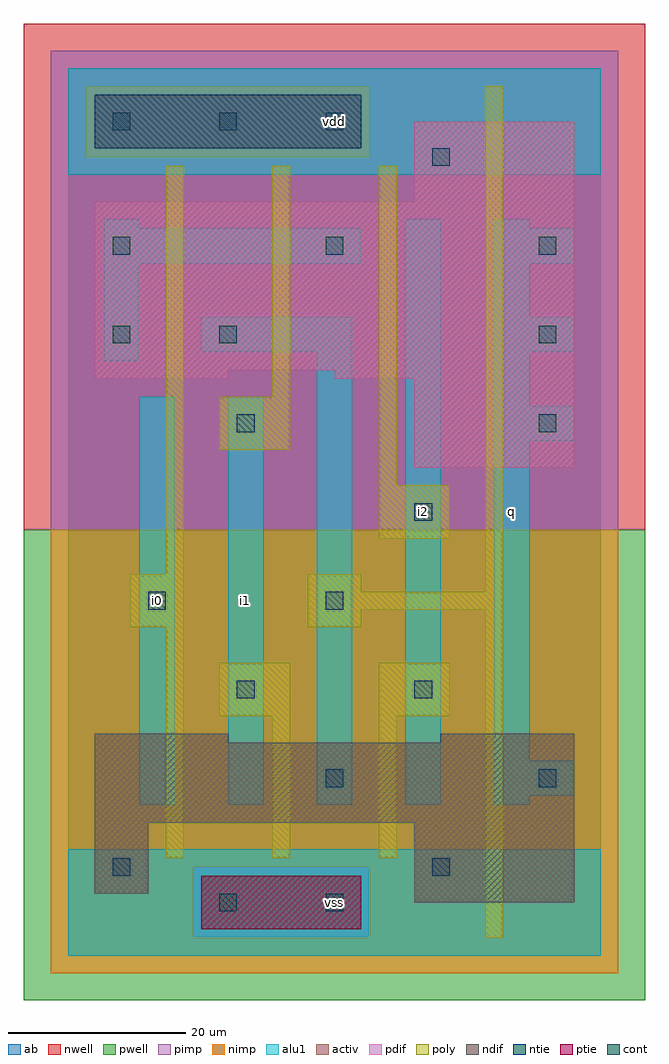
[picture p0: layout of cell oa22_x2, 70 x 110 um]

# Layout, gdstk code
import gdstk
lib = gdstk.Library(unit=1e-6, precision=1e-09)
def R(c, l, rs):  # rectangles x0, y0, x1, y1
    for r in rs: c.add(gdstk.rectangle(r[:2], r[2:], *l))
def A(c, l, x, y, w, h, nx, ny, dx, dy):  # array of equal rectangles
    R(c, l, [(x+i*dx, y+j*dy, x+i*dx+w, y+j*dy+h) for i in range(nx) for j in range(ny)])
ndif = (3, 0)
pdif = (4, 0)
ntie = (5, 0)
ptie = (6, 0)
cont = (25, 0)
pwell = (41, 0)
nwell = (42, 0)
activ = (43, 0)
pimp = (44, 0)
nimp = (45, 0)
poly = (46, 0)
alu1 = (49, 0)
ab = (63, 0)

oa22_x2 = lib.new_cell('oa22_x2')
R(oa22_x2, ndif, [(39,6,57,15), (3,7,9,15), (3,15,57,24), (3,24,18,25), (42,24,57,25)])
R(oa22_x2, pdif, [(39,55,57,65), (3,65,18,66), (30,65,57,66), (3,66,57,85), (39,85,57,94)])
R(oa22_x2, ntie, [(3,91,33,97)])
R(oa22_x2, ptie, [(15,3,33,9)])
A(oa22_x2, cont, 5, 79, 2, 2, 3, 1, 24, 0)
A(oa22_x2, cont, 5, 93, 2, 2, 3, 1, 12, 0)
R(oa22_x2, cont, [(17,5,19,7), (29,5,31,7), (5,9,7,11), (41,9,43,11), (29,19,31,21), (53,19,55,21), (19,29,21,31), (39,29,41,31), (9,39,11,41), (29,39,31,41), (39,49,41,51), (19,59,21,61), (53,59,55,61), (5,69,7,71), (17,69,19,71), (53,69,55,71), (41,89,43,91)])
R(oa22_x2, pwell, [(-5,-5,65,48)])
R(oa22_x2, nwell, [(-5,48,65,105)])
R(oa22_x2, activ, [(15,3,33,9), (39,6,57,15), (3,7,9,15), (3,15,57,24), (3,24,18,25), (42,24,57,25), (39,55,57,65), (3,65,18,66), (30,65,57,66), (3,66,57,85), (39,85,57,94), (3,91,33,97)])
R(oa22_x2, pimp, [(14,2,34,10), (-2,48,62,90), (-2,90,2,98), (34,90,62,98), (-2,98,62,102)])
R(oa22_x2, nimp, [(-2,-2,62,2), (-2,2,14,10), (34,2,62,10), (-2,10,62,48), (2,90,34,98)])
R(oa22_x2, poly, [(47,2,49,39), (11,11,13,37), (23,11,25,27), (35,11,37,27), (17,27,25,33), (35,27,43,33), (7,37,13,43), (27,37,33,39), (27,39,49,41), (27,41,33,43), (47,41,49,98), (11,43,13,89), (35,47,43,53), (35,53,37,89), (17,57,25,63), (23,63,25,89)])
A(oa22_x2, alu1, 48, 58, 9, 4, 1, 3, 0, 10)
R(oa22_x2, alu1, [(0,0,60,12), (8,17,12,63), (18,17,22,63), (28,17,32,68), (38,17,42,83), (48,17,52,18), (48,18,57,22), (48,22,52,58), (48,62,52,68), (4,67,8,78), (15,68,32,72), (48,72,52,78), (4,78,33,82), (4,82,8,83), (48,82,52,83), (0,88,60,100)])
R(oa22_x2, ab, [(0,0,60,100)])
oa22_x2.add(gdstk.Label('i0', (10,40), layer=49, texttype=0))
oa22_x2.add(gdstk.Label('i1', (20,40), layer=49, texttype=0))
oa22_x2.add(gdstk.Label('vss', (30,6), layer=49, texttype=0))
oa22_x2.add(gdstk.Label('i2', (40,50), layer=49, texttype=0))
oa22_x2.add(gdstk.Label('vdd', (30,94), layer=49, texttype=0))
oa22_x2.add(gdstk.Label('q', (50,50), layer=49, texttype=0))

lib.write_gds('oa22_x2.gds')
